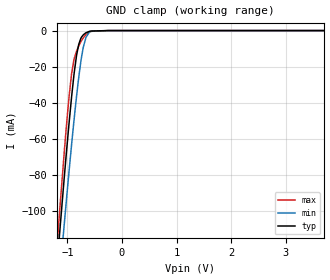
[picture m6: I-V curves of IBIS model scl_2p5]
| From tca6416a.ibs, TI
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|   scl_2p5 Model
[Model]   scl_2p5
Model_type   Input
Vinl = 0.75
Vinh = 1.75
|   typ   min   max
|   (nom PVT)   (fast PVT)   (slow PVT)
C_comp   1.378e-12   1.328e-12   1.465e-12
[Model spec]
|subparameter
Vinl   0.75   0.675   0.825
Vinh   1.75   1.575   1.925
| Where nom  PVT is Nominal Process, 2.5V, 27C
|   Fast PVT is Strong Process,  2.75V, -40C
|   Slow PVT is Weak Process,   2.25V, 106C
[Voltage Range]   2.5   2.25   2.75
|Junction Temperature
[Temperature Range]   27   106   -40
[Power Clamp Reference]   2.5   2.25   2.75
[GND Clamp Reference]   0   0   0
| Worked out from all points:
|   GND clamp passes 1 mA (typ) near -0.64 V on its own axis
[GND Clamp]
|   Voltage   I(typ)   I(min)   I(max)
-2.5V     -676.2mA   -665.1mA   -706.8mA
-1.173V   -123.5mA   -147.3mA   -112.2mA
-1.137V   -110mA     -134.6mA   -97.77mA
-1.059V   -81.86mA   -107.7mA   -67.74mA
-973.8mV  -52.59mA   -79.26mA   -37.9mA
-925mV    -37.2mA    -63.69mA   -24.35mA
-832.5mV  -13.74mA   -36.37mA   -11.37mA
-742.5mV  -3.686mA   -14.93mA   -5.621mA
-660.3mV  -1.213mA   -3.809mA   -2.178mA
-562.7mV  -247.2uA   -410.7uA   -394uA
-250mV    -109.6nA   -305.6nA   -46.55nA
5V        0A         0A         0A
[POWER Clamp]
|   Voltage   I(typ)   I(min)   I(max)
-2.5V     0A         0A         0A
0V        0A         0A         0A
5V        0A         0A         0A
